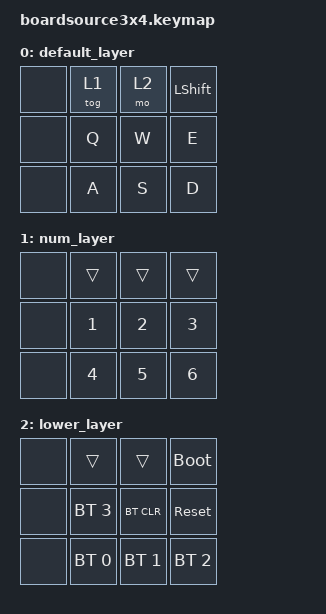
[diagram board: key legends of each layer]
/*
 * Copyright (c) 2020 The ZMK Contributors
 *
 * SPDX-License-Identifier: MIT
 */

#include <behaviors.dtsi>
#include <dt-bindings/zmk/keys.h>
#include <dt-bindings/zmk/bt.h>
#include "keys_de.h"

/ {
    keymap {
        compatible = "zmk,keymap";

        default_layer { //layer 0

            bindings = <
    &none   &tog 1   &mo 2      &kp LSHIFT
    &none   &kp Q    &kp W      &kp E
    &none   &kp A    &kp S      &kp D
            >;

        };

        num_layer {
            bindings = <
    &none   &trans &trans &trans
    &none   &kp N1 &kp N2 &kp N3
    &none   &kp N4 &kp N5 &kp N6
            >;
        };

        lower_layer {
            bindings = <
    &none   &trans       &trans       &bootloader
    &none   &bt BT_SEL 3 &bt BT_CLR   &sys_reset
    &none   &bt BT_SEL 0 &bt BT_SEL 1 &bt BT_SEL 2
            >;
        };
    };
};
